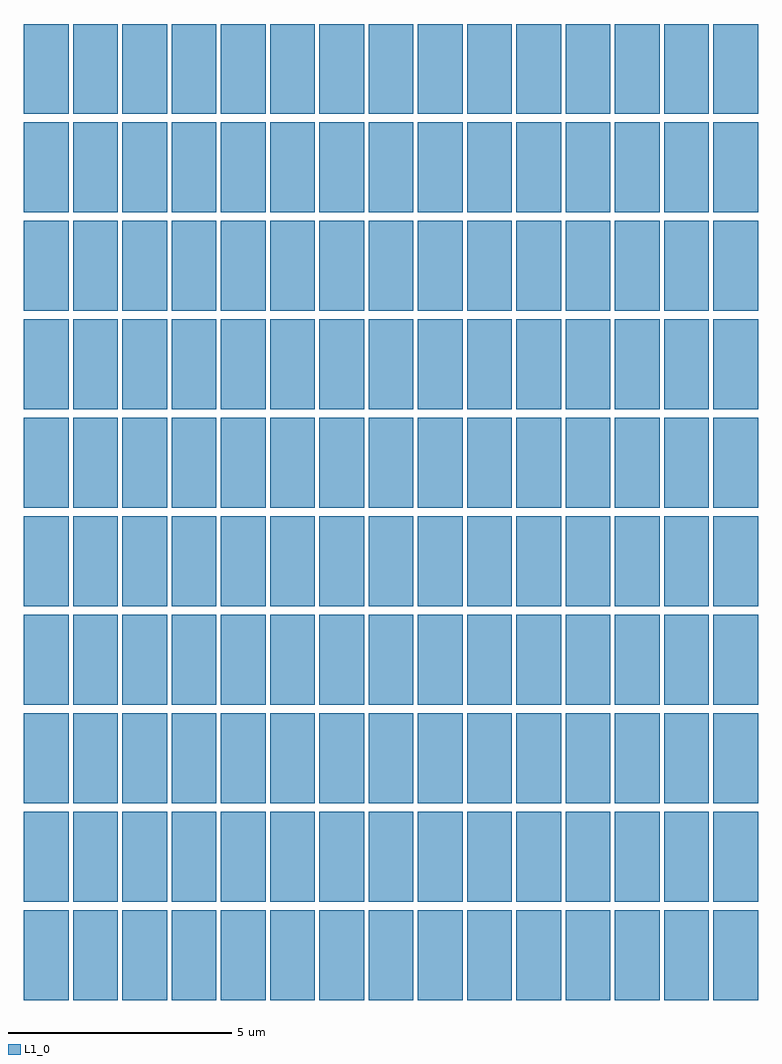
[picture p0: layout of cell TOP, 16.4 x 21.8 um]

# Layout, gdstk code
import gdstk
lib = gdstk.Library(unit=1e-6, precision=1e-09)
def R(c, l, rs):  # rectangles x0, y0, x1, y1
    for r in rs: c.add(gdstk.rectangle(r[:2], r[2:], *l))
def A(c, l, x, y, w, h, nx, ny, dx, dy):  # array of equal rectangles
    R(c, l, [(x+i*dx, y+j*dy, x+i*dx+w, y+j*dy+h) for i in range(nx) for j in range(ny)])
L1_0 = (1, 0)

top = lib.new_cell('TOP')
A(top, L1_0, 0, 0, 1, 2, 15, 10, 1.1, 2.2)

lib.write_gds('TOP.gds')
